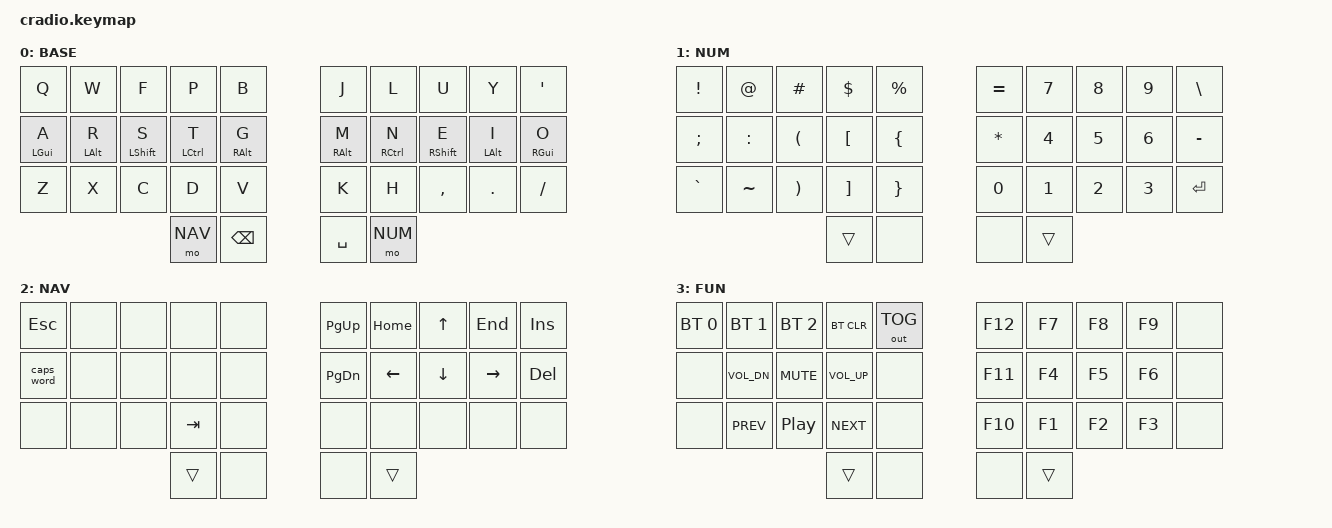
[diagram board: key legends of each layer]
#include <behaviors.dtsi>
#include <dt-bindings/zmk/keys.h>
#include <dt-bindings/zmk/bt.h>
#include <dt-bindings/zmk/outputs.h>

#define BASE 0
#define NUM  1
#define NAV  2
#define FUN  3

// Key positions
//  0  1  2  3  4    5  6  7  8  9
// 10 11 12 13 14   15 16 17 18 19
// 20 21 22 23 24   25 26 27 28 29
//          30 31   32 33
#define KEYS_L 0 1 2 3 4 10 11 12 13 14 20 21 22 23 24
#define KEYS_R 5 6 7 8 9 15 16 17 18 19 25 26 27 28 29
#define THUMBS 30 31 32 33

#define HM_PROPS \
    flavor = "balanced"; \
    tapping-term-ms = <200>; \
    quick-tap-ms = <175>; \
    hold-trigger-on-release;

&caps_word {
    continue-list = <UNDERSCORE MINUS BACKSPACE DELETE>;
};

/ {
    behaviors {
        // GUI/Alt/Ctrl: a key pressed within 150 ms of the previous key is a tap.
        hml: home_row_mod_left {
            compatible = "zmk,behavior-hold-tap";
            #binding-cells = <2>;
            bindings = <&kp>, <&kp>;
            HM_PROPS
            require-prior-idle-ms = <150>;
            hold-trigger-key-positions = <KEYS_R THUMBS>;
        };
        hmr: home_row_mod_right {
            compatible = "zmk,behavior-hold-tap";
            #binding-cells = <2>;
            bindings = <&kp>, <&kp>;
            HM_PROPS
            require-prior-idle-ms = <150>;
            hold-trigger-key-positions = <KEYS_L THUMBS>;
        };

        // Shift/AltGr: no idle rule, so capitals and accents work in fast typing.
        // Same-hand keys still give a tap (hold-trigger-key-positions).
        hmlf: home_row_mod_left_fast {
            compatible = "zmk,behavior-hold-tap";
            #binding-cells = <2>;
            bindings = <&kp>, <&kp>;
            HM_PROPS
            hold-trigger-key-positions = <KEYS_R THUMBS>;
        };
        hmrf: home_row_mod_right_fast {
            compatible = "zmk,behavior-hold-tap";
            #binding-cells = <2>;
            bindings = <&kp>, <&kp>;
            HM_PROPS
            hold-trigger-key-positions = <KEYS_L THUMBS>;
        };
    };

    // Holding NUM and NAV together activates FUN, in either order.
    conditional_layers {
        compatible = "zmk,conditional-layers";
        fun {
            if-layers = <NUM NAV>;
            then-layer = <FUN>;
        };
    };

    keymap {
        compatible = "zmk,keymap";

        base {
            display-name = "BASE";
            bindings = <
        //╭─────────┬─────────┬─────────┬─────────┬─────────╮   ╭─────────┬─────────┬─────────┬─────────┬─────────╮
        //│ Q       │ W       │ F       │ P       │ B       │   │ J       │ L       │ U       │ Y       │ '       │
            &kp Q     &kp W     &kp F     &kp P     &kp B         &kp J     &kp L     &kp U     &kp Y     &kp SQT
        //├─────────┼─────────┼─────────┼─────────┼─────────┤   ├─────────┼─────────┼─────────┼─────────┼─────────┤
        //│ A/GUI   │ R/Alt   │ S/Sft   │ T/Ctl   │ G/AltGr │   │ M/AltGr │ N/Ctl   │ E/Sft   │ I/Alt   │ O/GUI   │
            &hml LGUI A &hml LALT R &hmlf LSHFT S &hml LCTRL T &hmlf RALT G  &hmrf RALT M &hmr RCTRL N &hmrf RSHFT E &hmr LALT I &hmr RGUI O
        //├─────────┼─────────┼─────────┼─────────┼─────────┤   ├─────────┼─────────┼─────────┼─────────┼─────────┤
        //│ Z       │ X       │ C       │ D       │ V       │   │ K       │ H       │ ,       │ .       │ /       │
            &kp Z     &kp X     &kp C     &kp D     &kp V         &kp K     &kp H     &kp COMMA &kp DOT   &kp FSLH
        //╰─────────┴─────────┴─────────┼─────────┼─────────┤   ├─────────┼─────────┼─────────┴─────────┴─────────╯
        //                              │ NAV     │ Bspc    │   │ Space   │ NUM     │
                                          &mo NAV   &kp BSPC      &kp SPACE &mo NUM
        //                              ╰─────────┴─────────╯   ╰─────────┴─────────╯
            >;
        };

        num {
            display-name = "NUM";
            bindings = <
        //╭─────────┬─────────┬─────────┬─────────┬─────────╮   ╭─────────┬─────────┬─────────┬─────────┬─────────╮
        //│ !       │ @       │ #       │ $       │ %       │   │ =       │ 7       │ 8       │ 9       │ \       │
            &kp EXCL  &kp AT    &kp HASH  &kp DLLR  &kp PRCNT     &kp EQUAL &kp N7    &kp N8    &kp N9    &kp BSLH
        //├─────────┼─────────┼─────────┼─────────┼─────────┤   ├─────────┼─────────┼─────────┼─────────┼─────────┤
        //│ ;       │ :       │ (       │ [       │ {       │   │ *       │ 4       │ 5       │ 6       │ -       │
            &kp SEMI  &kp COLON &kp LPAR  &kp LBKT  &kp LBRC      &kp STAR  &kp N4    &kp N5    &kp N6    &kp MINUS
        //├─────────┼─────────┼─────────┼─────────┼─────────┤   ├─────────┼─────────┼─────────┼─────────┼─────────┤
        //│ `       │ ~       │ )       │ ]       │ }       │   │ 0       │ 1       │ 2       │ 3       │ Enter   │
            &kp GRAVE &kp TILDE &kp RPAR  &kp RBKT  &kp RBRC      &kp N0    &kp N1    &kp N2    &kp N3    &kp RET
        //╰─────────┴─────────┴─────────┼─────────┼─────────┤   ├─────────┼─────────┼─────────┴─────────┴─────────╯
        //                              │ FUN     │         │   │         │ ▼       │
                                          &trans    &none         &none     &trans
        //                              ╰─────────┴─────────╯   ╰─────────┴─────────╯
            >;
        };

        nav {
            display-name = "NAV";
            bindings = <
        //╭─────────┬─────────┬─────────┬─────────┬─────────╮   ╭─────────┬─────────┬─────────┬─────────┬─────────╮
        //│ Esc     │         │         │         │         │   │ PgUp    │ Home    │ Up      │ End     │ Insert  │
            &kp ESC   &none     &none     &none     &none         &kp PG_UP &kp HOME  &kp UP    &kp END   &kp INS
        //├─────────┼─────────┼─────────┼─────────┼─────────┤   ├─────────┼─────────┼─────────┼─────────┼─────────┤
        //│ Caps    │         │         │         │         │   │ PgDn    │ Left    │ Down    │ Right   │ Del     │
            &caps_word &none  &none     &none     &none         &kp PG_DN &kp LEFT  &kp DOWN  &kp RIGHT &kp DEL
        //├─────────┼─────────┼─────────┼─────────┼─────────┤   ├─────────┼─────────┼─────────┼─────────┼─────────┤
        //│         │         │         │ Tab     │         │   │         │         │         │         │         │
            &none     &none     &none     &kp TAB   &none         &none     &none     &none     &none     &none
        //╰─────────┴─────────┴─────────┼─────────┼─────────┤   ├─────────┼─────────┼─────────┴─────────┴─────────╯
        //                              │ ▼       │         │   │         │ FUN     │
                                          &trans    &none         &none     &trans
        //                              ╰─────────┴─────────╯   ╰─────────┴─────────╯
            >;
        };

        fun {
            display-name = "FUN";
            bindings = <
        //╭─────────┬─────────┬─────────┬─────────┬─────────╮               ╭─────────┬─────────┬─────────┬─────────┬─────────╮
        //│ BT 1    │ BT 2    │ BT 3    │ BT clr  │ USB/BT  │               │ F12     │ F7      │ F8      │ F9      │         │
            &bt BT_SEL 0 &bt BT_SEL 1 &bt BT_SEL 2 &bt BT_CLR &out OUT_TOG    &kp F12   &kp F7    &kp F8    &kp F9    &none
        //├─────────┼─────────┼─────────┼─────────┼─────────┤               ├─────────┼─────────┼─────────┼─────────┼─────────┤
        //│         │ Vol-    │ Mute    │ Vol+    │         │               │ F11     │ F4      │ F5      │ F6      │         │
            &none     &kp C_VOL_DN &kp C_MUTE &kp C_VOL_UP &none              &kp F11   &kp F4    &kp F5    &kp F6    &none
        //├─────────┼─────────┼─────────┼─────────┼─────────┤               ├─────────┼─────────┼─────────┼─────────┼─────────┤
        //│         │ Prev    │ Play    │ Next    │         │               │ F10     │ F1      │ F2      │ F3      │         │
            &none     &kp C_PREV &kp C_PP &kp C_NEXT &none                    &kp F10   &kp F1    &kp F2    &kp F3    &none
        //╰─────────┴─────────┴─────────┼─────────┼─────────┤               ├─────────┼─────────┼─────────┴─────────┴─────────╯
        //                              │ ▼       │         │               │         │ ▼       │
                                          &trans    &none                     &none     &trans
        //                              ╰─────────┴─────────╯               ╰─────────┴─────────╯
            >;
        };
    };
};
